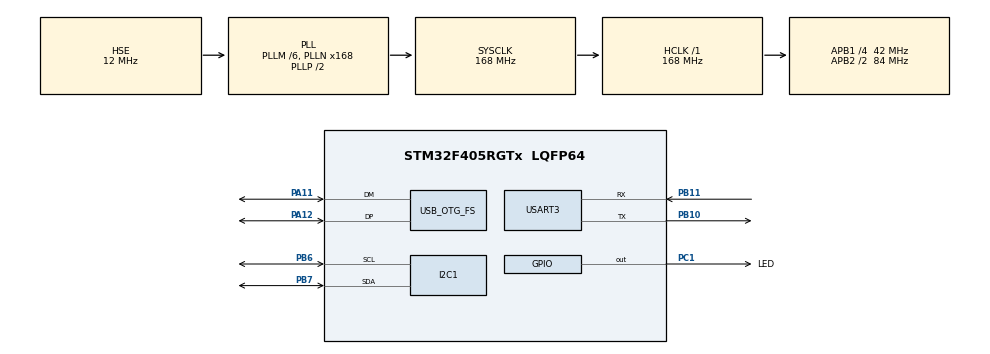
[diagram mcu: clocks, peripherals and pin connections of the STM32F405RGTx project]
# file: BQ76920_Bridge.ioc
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Mcu.Family=STM32F4
Mcu.Name=STM32F405RGTx
Mcu.Package=LQFP64
NVIC.OTG_FS_IRQn=true\:0\:0\:false\:false\:true\:false\:true\:true
NVIC.PriorityGroup=NVIC_PRIORITYGROUP_4
NVIC.TIM1_UP_TIM10_IRQn=true\:15\:0\:false\:false\:true\:false\:true\:true
NVIC.TimeBase=TIM1_UP_TIM10_IRQn
NVIC.TimeBaseIP=TIM1
PA11.Mode=Device_Only
PA11.Signal=USB_OTG_FS_DM
PA12.Mode=Device_Only
PA12.Signal=USB_OTG_FS_DP
PA13.Mode=Serial_Wire
PA13.Signal=SYS_JTMS-SWDIO
PA14.Mode=Serial_Wire
PA14.Signal=SYS_JTCK-SWCLK
PB10.Mode=Asynchronous
PB10.Signal=USART3_TX
PB11.Mode=Asynchronous
PB11.Signal=USART3_RX
PB6.Mode=I2C
PB6.Signal=I2C1_SCL
PB7.Mode=I2C
PB7.Signal=I2C1_SDA
PC1.GPIO_Label=LED
PC1.Signal=GPIO_Output
PH0-OSC_IN.Mode=HSE-External-Oscillator
PH0-OSC_IN.Signal=RCC_OSC_IN
PH1-OSC_OUT.Mode=HSE-External-Oscillator
PH1-OSC_OUT.Signal=RCC_OSC_OUT
ProjectManager.HeapSize=0x800
ProjectManager.StackSize=0x800
ProjectManager.TargetToolchain=CMake
RCC.48MHZClocksFreq_Value=48000000
RCC.AHBFreq_Value=168000000
RCC.APB1CLKDivider=RCC_HCLK_DIV4
RCC.APB1Freq_Value=42000000
RCC.APB1TimFreq_Value=84000000
RCC.APB2CLKDivider=RCC_HCLK_DIV2
RCC.APB2Freq_Value=84000000
RCC.APB2TimFreq_Value=168000000
RCC.CortexFreq_Value=168000000
RCC.HCLKFreq_Value=168000000
RCC.HSE_VALUE=12000000
RCC.HSI_VALUE=16000000
RCC.LSE_VALUE=32768
RCC.PLLM=6
RCC.PLLN=168
RCC.PLLQ=7
RCC.SYSCLKFreq_VALUE=168000000
RCC.SYSCLKSource=RCC_SYSCLKSOURCE_PLLCLK
RCC.VCOOutputFreq_Value=336000000
USART3.VirtualMode=VM_ASYNC
USB_DEVICE.CLASS_NAME_FS=HID
USB_DEVICE.VirtualMode-HID_FS=Hid
USB_DEVICE.VirtualModeFS=Hid_FS
USB_OTG_FS.VirtualMode=Device_Only
VP_SYS_VS_tim1.Mode=TIM1
VP_USB_DEVICE_VS_USB_DEVICE_HID_FS.Mode=HID_FS
board=custom

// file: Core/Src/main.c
/* USER CODE BEGIN Header */
/**
  ******************************************************************************
  * @file           : main.c
  * @brief          : Main program body
  ******************************************************************************
  * @attention
  *
  * Copyright (c) 2026 STMicroelectronics.
  * All rights reserved.
  *
  * This software is licensed under terms that can be found in the LICENSE file
  * in the root directory of this software component.
  * If no LICENSE file comes with this software, it is provided AS-IS.
  *
  ******************************************************************************
  */
/* USER CODE END Header */
#include "main.h"
#include "i2c.h"
#include "usart.h"
#include "usb_device.h"
#include "gpio.h"

/* USER CODE BEGIN Includes */
#include "bq76920.h"
#include "usb_hid_bridge.h"
#include <stdio.h>
/* USER CODE END Includes */

/* USER CODE BEGIN PV */
static BQ76920_t bms;
/* USER CODE END PV */

void SystemClock_Config(void);

int main(void)
{

  /* MCU Configuration--------------------------------------------------------*/

  /* Reset of all peripherals, Initializes the Flash interface and the Systick. */
  HAL_Init();

  /* Configure the system clock */
  SystemClock_Config();

  /* Initialize all configured peripherals */
  MX_GPIO_Init();
  MX_I2C1_Init();
  MX_USART3_UART_Init();
  MX_USB_DEVICE_Init();
  /* USER CODE BEGIN 2 */
  HAL_Delay(500);
  printf("BQ76920 Bridge v0.1\r\n");

  HAL_StatusTypeDef bmsStatus = BQ76920_Initialise(&bms, &hi2c1, 5, 4.25f, 2.8f, 2600, 3.6f);
  if (bmsStatus == HAL_OK)
  {
    printf("BMS Init: OK  addr=0x%02X  CRC=%s  GAIN=%u  OFFSET=%d\r\n",
           bms.i2cAddr, bms.crcEnabled ? "on" : "off", bms.GAIN, bms.OFFSET);
  }
  else
  {
    printf("BMS Init: FAIL (no device at 0x30 or 0x10)\r\n");
  }

  Bridge_Init(&bms);

  uint32_t lastBmsCheck = HAL_GetTick();
  /* USER CODE END 2 */

  /* Infinite loop */
  while (1)
  {

    /* USER CODE BEGIN 3 */
    Bridge_ProcessCommand();

    /* Self-healing BQ init.  Every 2 s, probe CC_CFG and confirm it equals
     * 0x19 (datasheet SLUSBK2I sec 8.5 Register Maps: "CC_CFG ... Must be
     * programmed to 0x19").  If the read fails or the value drifted, run
     * BQ76920_Initialise() again.
     *
     * The previous one-way bmsInitOk latch never cleared after a successful
     * boot, so if the BQ later POR'd (BAT supply cycle), exited SHIP mode
     * via the BOOT pin (datasheet sec 8.4.2), or reset for any other reason,
     * the bridge silently served stale state and the host saw CC_CFG=0x00.
     * The new probe-and-reinit catches every BQ-side reset transparently.
     *
     * Cost in steady state: one I2C byte read per 2 s (~3 ms).  Re-init
     * runs only when the probe fails or the value drifted.
     */
    uint32_t now = HAL_GetTick();
    if (now - lastBmsCheck >= 2000U)
    {
      lastBmsCheck = now;
      uint8_t cc_cfg_chk = 0U;
      if (BQ76920_ReadRegister(&bms, CC_CFG, &cc_cfg_chk) != HAL_OK ||
          cc_cfg_chk != 0x19U)
      {
        if (BQ76920_Initialise(&bms, &hi2c1, 5, 4.25f, 2.8f, 2600, 3.6f) == HAL_OK)
        {
          printf("BMS ReInit: OK  addr=0x%02X  CRC=%s  GAIN=%u  OFFSET=%d\r\n",
                 bms.i2cAddr, bms.crcEnabled ? "on" : "off", bms.GAIN, bms.OFFSET);
        }
      }
    }

    /* Non-blocking LED heartbeat: toggle every 500ms without blocking the loop */
    {
      static uint32_t lastToggle = 0;
      uint32_t now = HAL_GetTick();
      if (now - lastToggle >= 500U)
      {
        HAL_GPIO_TogglePin(GPIOC, LED_Pin);
        lastToggle = now;
      }
    }
  }
  /* USER CODE END 3 */
}

void SystemClock_Config(void)
{
  RCC_OscInitTypeDef RCC_OscInitStruct = {0};
  RCC_ClkInitTypeDef RCC_ClkInitStruct = {0};

  /** Configure the main internal regulator output voltage
  */
  __HAL_RCC_PWR_CLK_ENABLE();
  __HAL_PWR_VOLTAGESCALING_CONFIG(PWR_REGULATOR_VOLTAGE_SCALE1);

  /** Initializes the RCC Oscillators according to the specified parameters
  * in the RCC_OscInitTypeDef structure.
  */
  RCC_OscInitStruct.OscillatorType = RCC_OSCILLATORTYPE_HSE;
  RCC_OscInitStruct.HSEState = RCC_HSE_ON;
  RCC_OscInitStruct.PLL.PLLState = RCC_PLL_ON;
  RCC_OscInitStruct.PLL.PLLSource = RCC_PLLSOURCE_HSE;
  RCC_OscInitStruct.PLL.PLLM = 6;
  RCC_OscInitStruct.PLL.PLLN = 168;
  RCC_OscInitStruct.PLL.PLLP = RCC_PLLP_DIV2;
  RCC_OscInitStruct.PLL.PLLQ = 7;
  if (HAL_RCC_OscConfig(&RCC_OscInitStruct) != HAL_OK)
  {
    Error_Handler();
  }

  /** Initializes the CPU, AHB and APB buses clocks
  */
  RCC_ClkInitStruct.ClockType = RCC_CLOCKTYPE_HCLK|RCC_CLOCKTYPE_SYSCLK
                              |RCC_CLOCKTYPE_PCLK1|RCC_CLOCKTYPE_PCLK2;
  RCC_ClkInitStruct.SYSCLKSource = RCC_SYSCLKSOURCE_PLLCLK;
  RCC_ClkInitStruct.AHBCLKDivider = RCC_SYSCLK_DIV1;
  RCC_ClkInitStruct.APB1CLKDivider = RCC_HCLK_DIV4;
  RCC_ClkInitStruct.APB2CLKDivider = RCC_HCLK_DIV2;

  if (HAL_RCC_ClockConfig(&RCC_ClkInitStruct, FLASH_LATENCY_5) != HAL_OK)
  {
    Error_Handler();
  }
}

/* USER CODE BEGIN 4 */
/**
  * @brief  Retarget printf to USART3
  * @param  ch  Character to transmit
  * @retval int  The transmitted character
  */
int __io_putchar(int ch)
{
  uint8_t c = (uint8_t)ch;
  HAL_UART_Transmit(&huart3, &c, 1, HAL_MAX_DELAY);
  return ch;
}
/* USER CODE END 4 */

void HAL_TIM_PeriodElapsedCallback(TIM_HandleTypeDef *htim)
{
  if (htim->Instance == TIM1)
  {
    HAL_IncTick();
  }
}

void Error_Handler(void)
{
  __disable_irq();
  while (1)
  {
  }
}
